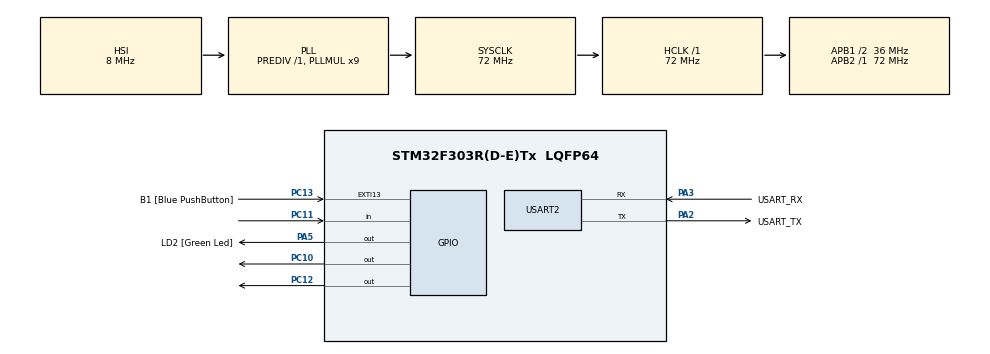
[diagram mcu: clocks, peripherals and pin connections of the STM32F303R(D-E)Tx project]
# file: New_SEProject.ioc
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Mcu.Family=STM32F3
Mcu.Name=STM32F303R(D-E)Tx
Mcu.Package=LQFP64
NVIC.PriorityGroup=NVIC_PRIORITYGROUP_0
NVIC.USART2_IRQn=true\:0\:0\:false\:false\:true\:true\:true\:true
PA13.GPIO_Label=TMS
PA13.Mode=Serial_Wire
PA13.Signal=SYS_JTMS-SWDIO
PA14.GPIO_Label=TCK
PA14.Mode=Serial_Wire
PA14.Signal=SYS_JTCK-SWCLK
PA2.GPIO_Label=USART_TX
PA2.GPIO_Mode=GPIO_MODE_AF_PP
PA2.GPIO_PuPd=GPIO_NOPULL
PA2.GPIO_Speed=GPIO_SPEED_FREQ_LOW
PA2.Mode=Asynchronous
PA2.Signal=USART2_TX
PA3.GPIO_Label=USART_RX
PA3.GPIO_Mode=GPIO_MODE_AF_PP
PA3.GPIO_PuPd=GPIO_NOPULL
PA3.GPIO_Speed=GPIO_SPEED_FREQ_LOW
PA3.Mode=Asynchronous
PA3.Signal=USART2_RX
PA5.GPIO_Label=LD2 [Green Led]
PA5.GPIO_Mode=GPIO_MODE_OUTPUT_PP
PA5.GPIO_PuPd=GPIO_NOPULL
PA5.GPIO_Speed=GPIO_SPEED_FREQ_LOW
PA5.Signal=GPIO_Output
PB3.GPIO_Label=SWO
PB3.Signal=SYS_JTDO-TRACESWO
PC10.Signal=GPIO_Output
PC11.GPIO_PuPd=GPIO_PULLUP
PC11.Signal=GPIO_Input
PC12.Signal=GPIO_Output
PC13.GPIO_Label=B1 [Blue PushButton]
PC13.GPIO_ModeDefaultEXTI=GPIO_MODE_IT_FALLING
PC13.Signal=GPXTI13
PC14-OSC32_IN.Mode=LSE-External-Oscillator
PC14-OSC32_IN.Signal=RCC_OSC32_IN
PC15-OSC32_OUT.Mode=LSE-External-Oscillator
PC15-OSC32_OUT.Signal=RCC_OSC32_OUT
PF0-OSC_IN.Mode=HSE-External-Clock-Source
PF0-OSC_IN.Signal=RCC_OSC_IN
PF1-OSC_OUT.Signal=RCC_OSC_OUT
ProjectManager.HeapSize=0x200
ProjectManager.StackSize=0x400
ProjectManager.TargetToolchain=STM32CubeIDE
RCC.AHBFreq_Value=72000000
RCC.APB1CLKDivider=RCC_HCLK_DIV2
RCC.APB1Freq_Value=36000000
RCC.APB1TimFreq_Value=72000000
RCC.APB2Freq_Value=72000000
RCC.APB2TimFreq_Value=72000000
RCC.CortexFreq_Value=72000000
RCC.HCLKFreq_Value=72000000
RCC.HSE_VALUE=8000000
RCC.HSI_VALUE=8000000
RCC.PLLM=8
RCC.PLLMUL=RCC_PLL_MUL9
RCC.PLLN=336
RCC.PLLP=RCC_PLLP_DIV4
RCC.PLLQ=7
RCC.RCC_PLLsource_Clock_Source_FROM_HSE=RCC_HSE_PREDIV_DIV2
RCC.SYSCLKFreq_VALUE=72000000
RCC.SYSCLKSourceVirtual=RCC_SYSCLKSOURCE_PLLCLK
RCC.USBFreq_Value=72000000
USART2.VirtualMode-Asynchronous=VM_ASYNC
board=NUCLEO-F303RE

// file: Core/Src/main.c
/* USER CODE BEGIN Header */
/**
  ******************************************************************************
  * @file           : main.c
  * @brief          : Main program body
  ******************************************************************************
  * @attention
  *
  * Copyright (c) 2026 STMicroelectronics.
  * All rights reserved.
  *
  * This software is licensed under terms that can be found in the LICENSE file
  * in the root directory of this software component.
  * If no LICENSE file comes with this software, it is provided AS-IS.
  *
  ******************************************************************************
  */
/* USER CODE END Header */
#include "main.h"

/* USER CODE BEGIN Includes */
#include <stdio.h>
#include <stdlib.h>
#include <string.h>
#include "LED.h"
#include "BUTTON.h"
#include "CLI.h"
#include "timer.h"
#include "app.h"

/* USER CODE END Includes */

UART_HandleTypeDef huart2;

/* USER CODE BEGIN PV */
uint8_t rxChar;

char rxBuffer[50];

uint8_t rxIndex = 0;

uint8_t commandReady = 0;

/* USER CODE END PV */

void SystemClock_Config(void);
static void MX_GPIO_Init(void);
static void MX_USART2_UART_Init(void);

int main(void)
{

  /* USER CODE BEGIN 1 */
	LED_t led;
	LED_t led_r;
	Timer_t timer;
	Button_t button;
	App_t app;

		app.led = &led;
		app.button = &button;

  /* USER CODE END 1 */

  /* MCU Configuration--------------------------------------------------------*/

  /* Reset of all peripherals, Initializes the Flash interface and the Systick. */
  HAL_Init();

  /* Configure the system clock */
  SystemClock_Config();

  /* Initialize all configured peripherals */
  MX_GPIO_Init();
  MX_USART2_UART_Init();
  /* USER CODE BEGIN 2 */
  LED_Init(&led, GPIOC, GPIO_PIN_10);

  LED_Init(&led_r, GPIOC, GPIO_PIN_12);

  MX_USART2_UART_Init();

  HAL_UART_Receive_IT(&huart2, &rxChar, 1);

  Timer_Start(&timer, 2000);

  char msg[50];

  sprintf(msg, "start=%lu\r\n", timer.startTime);

  uart_send(msg);

  Button_Init(&button, GPIOC, GPIO_PIN_11);

  Timer_Start(&timer, 500);

  App_Init(&app);

  //LED_StartBlink(&led_r, 0, 500);

  //LED_StartBlink(&led, 0, 500);

  /* USER CODE END 2 */

  /* Infinite loop */
  /* USER CODE BEGIN WHILE */
  while (1)
  {
	  LED_Update(&led);

	  LED_Update(&led_r);

	  App_Process(&app);

	  if(commandReady)
	  {

		  command_processor(rxBuffer, &app);

		  commandReady = 0;

	  }
    /* USER CODE END WHILE */

  }
}

void SystemClock_Config(void)
{
  RCC_OscInitTypeDef RCC_OscInitStruct = {0};
  RCC_ClkInitTypeDef RCC_ClkInitStruct = {0};
  RCC_PeriphCLKInitTypeDef PeriphClkInit = {0};

  /** Initializes the RCC Oscillators according to the specified parameters
  * in the RCC_OscInitTypeDef structure.
  */
  RCC_OscInitStruct.OscillatorType = RCC_OSCILLATORTYPE_HSI;
  RCC_OscInitStruct.HSIState = RCC_HSI_ON;
  RCC_OscInitStruct.HSICalibrationValue = RCC_HSICALIBRATION_DEFAULT;
  RCC_OscInitStruct.PLL.PLLState = RCC_PLL_ON;
  RCC_OscInitStruct.PLL.PLLSource = RCC_PLLSOURCE_HSI;
  RCC_OscInitStruct.PLL.PLLMUL = RCC_PLL_MUL9;
  RCC_OscInitStruct.PLL.PREDIV = RCC_PREDIV_DIV1;
  if (HAL_RCC_OscConfig(&RCC_OscInitStruct) != HAL_OK)
  {
    Error_Handler();
  }

  /** Initializes the CPU, AHB and APB buses clocks
  */
  RCC_ClkInitStruct.ClockType = RCC_CLOCKTYPE_HCLK|RCC_CLOCKTYPE_SYSCLK
                              |RCC_CLOCKTYPE_PCLK1|RCC_CLOCKTYPE_PCLK2;
  RCC_ClkInitStruct.SYSCLKSource = RCC_SYSCLKSOURCE_PLLCLK;
  RCC_ClkInitStruct.AHBCLKDivider = RCC_SYSCLK_DIV1;
  RCC_ClkInitStruct.APB1CLKDivider = RCC_HCLK_DIV2;
  RCC_ClkInitStruct.APB2CLKDivider = RCC_HCLK_DIV1;

  if (HAL_RCC_ClockConfig(&RCC_ClkInitStruct, FLASH_LATENCY_2) != HAL_OK)
  {
    Error_Handler();
  }
  PeriphClkInit.PeriphClockSelection = RCC_PERIPHCLK_USART2;
  PeriphClkInit.Usart2ClockSelection = RCC_USART2CLKSOURCE_PCLK1;
  if (HAL_RCCEx_PeriphCLKConfig(&PeriphClkInit) != HAL_OK)
  {
    Error_Handler();
  }
}

static void MX_USART2_UART_Init(void)
{

  huart2.Instance = USART2;
  huart2.Init.BaudRate = 38400;
  huart2.Init.WordLength = UART_WORDLENGTH_8B;
  huart2.Init.StopBits = UART_STOPBITS_1;
  huart2.Init.Parity = UART_PARITY_NONE;
  huart2.Init.Mode = UART_MODE_TX_RX;
  huart2.Init.HwFlowCtl = UART_HWCONTROL_NONE;
  huart2.Init.OverSampling = UART_OVERSAMPLING_16;
  huart2.Init.OneBitSampling = UART_ONE_BIT_SAMPLE_DISABLE;
  huart2.AdvancedInit.AdvFeatureInit = UART_ADVFEATURE_NO_INIT;
  if (HAL_UART_Init(&huart2) != HAL_OK)
  {
    Error_Handler();
  }

}

static void MX_GPIO_Init(void)
{
  GPIO_InitTypeDef GPIO_InitStruct = {0};

  /* GPIO Ports Clock Enable */
  __HAL_RCC_GPIOC_CLK_ENABLE();
  __HAL_RCC_GPIOF_CLK_ENABLE();
  __HAL_RCC_GPIOA_CLK_ENABLE();
  __HAL_RCC_GPIOB_CLK_ENABLE();

  /*Configure GPIO pin Output Level */
  HAL_GPIO_WritePin(LD2_GPIO_Port, LD2_Pin, GPIO_PIN_RESET);

  /*Configure GPIO pin Output Level */
  HAL_GPIO_WritePin(GPIOC, GPIO_PIN_10|GPIO_PIN_12, GPIO_PIN_RESET);

  /*Configure GPIO pin : B1_Pin */
  GPIO_InitStruct.Pin = B1_Pin;
  GPIO_InitStruct.Mode = GPIO_MODE_IT_FALLING;
  GPIO_InitStruct.Pull = GPIO_NOPULL;
  HAL_GPIO_Init(B1_GPIO_Port, &GPIO_InitStruct);

  /*Configure GPIO pin : LD2_Pin */
  GPIO_InitStruct.Pin = LD2_Pin;
  GPIO_InitStruct.Mode = GPIO_MODE_OUTPUT_PP;
  GPIO_InitStruct.Pull = GPIO_NOPULL;
  GPIO_InitStruct.Speed = GPIO_SPEED_FREQ_LOW;
  HAL_GPIO_Init(LD2_GPIO_Port, &GPIO_InitStruct);

  /*Configure GPIO pins : PC10 PC12 */
  GPIO_InitStruct.Pin = GPIO_PIN_10|GPIO_PIN_12;
  GPIO_InitStruct.Mode = GPIO_MODE_OUTPUT_PP;
  GPIO_InitStruct.Pull = GPIO_NOPULL;
  GPIO_InitStruct.Speed = GPIO_SPEED_FREQ_LOW;
  HAL_GPIO_Init(GPIOC, &GPIO_InitStruct);

  /*Configure GPIO pin : PC11 */
  GPIO_InitStruct.Pin = GPIO_PIN_11;
  GPIO_InitStruct.Mode = GPIO_MODE_INPUT;
  GPIO_InitStruct.Pull = GPIO_PULLUP;
  HAL_GPIO_Init(GPIOC, &GPIO_InitStruct);

}

/* USER CODE BEGIN 4 */
void HAL_UART_RxCpltCallback(UART_HandleTypeDef *huart)
{

	if(huart->Instance == USART2)
	{
		if(rxChar == '\r' || rxChar == '\n')
		{
			rxBuffer[rxIndex] = '\0';

			commandReady = 1;

			rxIndex = 0;
		}

		else
		{
			rxBuffer[rxIndex++] = rxChar;
		}

		HAL_UART_Receive_IT(&huart2, &rxChar, 1);
	}
}

/* USER CODE END 4 */

void Error_Handler(void)
{
  __disable_irq();
  while (1)
  {
  }
}
